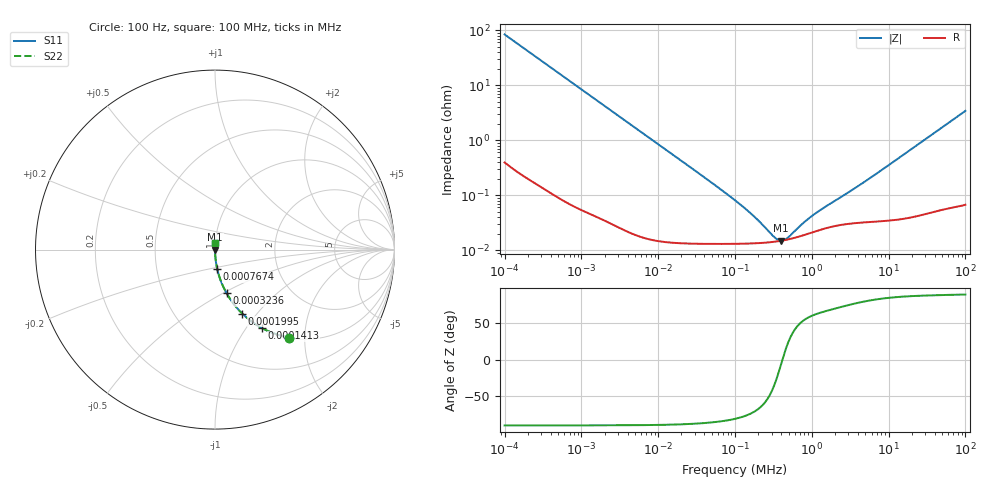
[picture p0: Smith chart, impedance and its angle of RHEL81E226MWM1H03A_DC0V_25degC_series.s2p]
!Murata Part Number: RHEL81E226MWM1H03A
!These Parameters are Measured in Series Mode Connection
!  o--ll--o
!Port1  Port2
!  o------o
!Operation Temp=25[degC], DC Bias Voltage=0[V]
!Freq. Start=100[Hz] Stop=100[MHz], 401[Steps]
!Data Generated on Mar 27, 2023
# Hz S RI R 50
!Freq.(Hz) S11(Real) S11(Imag) S21(Real) S21(Imag) S12(Real) S12(Imag) S22(Real) S22(Imag)
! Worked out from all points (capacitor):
!   401 points, 100 Hz to 100 MHz, reference 50 ohm
!   read as one part in series: C = 19 uF near 107.2 Hz
!   lowest |Z| = 14.9 mohm at 398.1 kHz (marker M1)
!   series resonance near 414.3 kHz, so ESL is about 7.8 nH
!   S11 on the Smith chart (normalised r, x): 100 Hz: 1.01, -1.68; 141.3 Hz: 1.01, -1.19; 199.5 Hz: 1.00, -0.84; 323.6 Hz: 1.00, -0.52; 767.4 Hz: 1.00, -0.22; 100 MHz: 1.00, +0.07
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100  0.4136 -0.4901  0.5864 0.4901  0.5864 0.4901  0.4136 -0.4901
141.2538  0.2621 -0.4375  0.7379 0.4375  0.7379 0.4375  0.2621 -0.4375
199.5262  0.1519 -0.3566  0.8481 0.3566  0.8481 0.3566  0.1519 -0.3566
323.5937  0.0644 -0.243  0.9356 0.243  0.9356 0.243  0.0644 -0.243
489.7788  0.0296 -0.1668  0.9704 0.1668  0.9704 0.1668  0.0296 -0.1668
767.3615  0.0126 -0.1085  0.9874 0.1085  0.9874 0.1085  0.0126 -0.1085
1011.579  0.00744 -0.0828  0.9926 0.0828  0.9926 0.0828  0.00744 -0.0828
2570.396  0.00138 -0.0329  0.9986 0.0329  0.9986 0.0329  0.00138 -0.0329
10232.93  0.000215 -0.0083  0.9998 0.0083  0.9998 0.0083  0.000215 -0.0083
46773.51  0.000134 -0.00179  0.9999 0.00179  0.9999 0.00179  0.000134 -0.00179
100000  0.000131 -0.000799  0.9999 0.000799  0.9999 0.000799  0.000131 -0.000799
179887.1  0.000134 -0.000381  0.9999 0.000381  0.9999 0.000381  0.000134 -0.000381
323593.7  0.000142 -0.0001  0.9999 0.0001  0.9999 0.0001  0.000142 -0.0001
358921.9  0.000145 -5.77e-05  0.9999 5.77e-05  0.9999 5.77e-05  0.000145 -5.77e-05
398107.2  0.000149 -1.59e-05  0.9999 1.59e-05  0.9999 1.59e-05  0.000149 -1.59e-05
441570.4  0.000152 2.53e-05  0.9998 -2.53e-05  0.9998 -2.53e-05  0.000152 2.53e-05
489778.8  0.000157 6.62e-05  0.9998 -6.62e-05  0.9998 -6.62e-05  0.000157 6.62e-05
767361.5  0.000186 0.000247  0.9998 -0.000247  0.9998 -0.000247  0.000186 0.000247
1011579  0.000211 0.000367  0.9998 -0.000367  0.9998 -0.000367  0.000211 0.000367
4168694  0.000318 0.00149  0.9997 -0.00149  0.9997 -0.00149  0.000318 0.00149
1.023293e7  0.000359 0.00358  0.9996 -0.00358  0.9996 -0.00358  0.000359 0.00358
1e8  0.00184 0.0341  0.9982 -0.0341  0.9982 -0.0341  0.00184 0.0341
